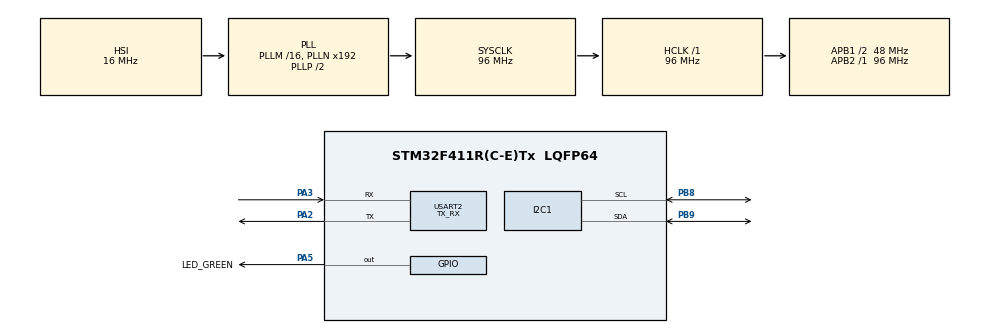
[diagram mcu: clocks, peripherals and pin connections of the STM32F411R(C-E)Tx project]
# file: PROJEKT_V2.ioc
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Dma.Request0=USART2_TX
Dma.Request1=USART2_RX
Dma.USART2_RX.1.Direction=DMA_PERIPH_TO_MEMORY
Dma.USART2_RX.1.FIFOMode=DMA_FIFOMODE_DISABLE
Dma.USART2_RX.1.Instance=DMA1_Stream5
Dma.USART2_RX.1.MemDataAlignment=DMA_MDATAALIGN_BYTE
Dma.USART2_RX.1.MemInc=DMA_MINC_ENABLE
Dma.USART2_RX.1.Mode=DMA_CIRCULAR
Dma.USART2_RX.1.PeriphDataAlignment=DMA_PDATAALIGN_BYTE
Dma.USART2_RX.1.PeriphInc=DMA_PINC_DISABLE
Dma.USART2_RX.1.Priority=DMA_PRIORITY_LOW
Dma.USART2_TX.0.Direction=DMA_MEMORY_TO_PERIPH
Dma.USART2_TX.0.FIFOMode=DMA_FIFOMODE_DISABLE
Dma.USART2_TX.0.Instance=DMA1_Stream6
Dma.USART2_TX.0.MemDataAlignment=DMA_MDATAALIGN_BYTE
Dma.USART2_TX.0.MemInc=DMA_MINC_ENABLE
Dma.USART2_TX.0.Mode=DMA_CIRCULAR
Dma.USART2_TX.0.PeriphDataAlignment=DMA_PDATAALIGN_BYTE
Dma.USART2_TX.0.PeriphInc=DMA_PINC_DISABLE
Dma.USART2_TX.0.Priority=DMA_PRIORITY_LOW
Mcu.Family=STM32F4
Mcu.Name=STM32F411R(C-E)Tx
Mcu.Package=LQFP64
NVIC.DMA1_Stream5_IRQn=true\:0\:0\:false\:false\:true\:false\:true\:true
NVIC.DMA1_Stream6_IRQn=true\:0\:0\:false\:false\:true\:false\:true\:true
NVIC.I2C1_EV_IRQn=true\:0\:0\:false\:false\:true\:true\:true\:true
NVIC.PriorityGroup=NVIC_PRIORITYGROUP_4
PA2.Mode=Asynchronous
PA2.Signal=USART2_TX
PA3.Mode=Asynchronous
PA3.Signal=USART2_RX
PA5.GPIO_Label=LED_GREEN
PA5.Signal=GPIO_Output
PB8.Mode=I2C
PB8.Signal=I2C1_SCL
PB9.Mode=I2C
PB9.Signal=I2C1_SDA
PC14-OSC32_IN.Mode=LSE-External-Oscillator
PC14-OSC32_IN.Signal=RCC_OSC32_IN
PC15-OSC32_OUT.Mode=LSE-External-Oscillator
PC15-OSC32_OUT.Signal=RCC_OSC32_OUT
PH0\ -\ OSC_IN.Mode=HSE-External-Clock-Source
PH0\ -\ OSC_IN.Signal=RCC_OSC_IN
PH1\ -\ OSC_OUT.Mode=HSE-External-Clock-Source
PH1\ -\ OSC_OUT.Signal=RCC_OSC_OUT
ProjectManager.HeapSize=0x200
ProjectManager.StackSize=0x400
ProjectManager.TargetToolchain=STM32CubeIDE
RCC.AHBFreq_Value=96000000
RCC.APB1CLKDivider=RCC_HCLK_DIV2
RCC.APB1Freq_Value=48000000
RCC.APB1TimFreq_Value=96000000
RCC.APB2Freq_Value=96000000
RCC.APB2TimFreq_Value=96000000
RCC.CortexFreq_Value=96000000
RCC.HCLKFreq_Value=96000000
RCC.HSE_VALUE=25000000
RCC.HSI_VALUE=16000000
RCC.SYSCLKFreq_VALUE=96000000
RCC.SYSCLKSource=RCC_SYSCLKSOURCE_PLLCLK
RCC.VCOOutputFreq_Value=192000000
USART2.Mode=MODE_TX_RX
USART2.VirtualMode=VM_ASYNC
VP_RTC_VS_RTC_Activate.Mode=RTC_Enabled
board=custom

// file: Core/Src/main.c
/* USER CODE BEGIN Header */
/**
  ******************************************************************************
  * @file           : main.c
  * @brief          : Main program body
  ******************************************************************************
  * @attention
  *
  * Copyright (c) 2022 STMicroelectronics.
  * All rights reserved.
  *
  * This software is licensed under terms that can be found in the LICENSE file
  * in the root directory of this software component.
  * If no LICENSE file comes with this software, it is provided AS-IS.
  *
  ******************************************************************************
  */
/* USER CODE END Header */
#include "main.h"

/* USER CODE BEGIN Includes */
#include "myheader.h"

/* USER CODE END Includes */

I2C_HandleTypeDef hi2c1;

RTC_HandleTypeDef hrtc;

UART_HandleTypeDef huart2;
DMA_HandleTypeDef hdma_usart2_tx;
DMA_HandleTypeDef hdma_usart2_rx;

/* USER CODE BEGIN PV */
//HTS221

uint8_t HTTS221_CTR_REG_1_settings = (0b10000110);
uint8_t HTS221_WHOAMI_buf = 0;
uint8_t HTTS221_CTR_CALIBRATION_REG[6];
uint8_t HTS221_Data_buff[4];

//data to interpolation TEMP
uint8_t HTTS221_T0_degC = 0;
uint8_t HTTS221_T1_degC = 0;
uint8_t HTTS221_T_MSB = 0;
int16_t HTTS221_T0_OUT = 0;
int16_t HTTS221_T1_OUT = 0;
int16_t HTTS221_T_OUT = 0;

//data to interpolation HUMI
uint8_t HTTS221_H0_rH_x2 = 0;
uint8_t HTTS221_H1_rH_x2 = 0;
int16_t HTTS221_H0_T0_OUT = 0;
int16_t HTTS221_H1_T0_OUT = 0;

//LSM6DSL
uint8_t LSM6DSL_CTRL1_XL=(0b01001110);
uint8_t LSM6DSL_GYRRO_CTRL2_G_sett=(0b01001000);
uint8_t LSM6DSL_WHOAMI_buf = 0;

//LSM303AGR

uint8_t LSM303AGR_ACCE_WHOAMI_buff = 0;
uint8_t LSM303AGR_GYRO_WHOAMI_buff = 0;

uint8_t LSM303AGR_CTRL_REG1_A_settings = 0x57;
uint8_t LSM303AGR_CTRL_REG2_A_settings = 0x00;
uint8_t LSM303AGR_CTRL_REG3_A_settings = 0x00;
uint8_t LSM303AGR_CTRL_REG4_A_settings = 0b10100000;
uint8_t LSM303AGR_TEMP_CFG_REG_A_settings = 0xC0;

uint8_t LSM303AGR_DATA_ACCE_buff[6];

//LPS22HB

uint8_t LPS22HB_WHOAMI_buf = 0;
uint8_t LPS22HB_CTRL_REG1_A_settings = 0b00111000;

uint8_t UART_BUFFOR[100];
uint8_t UART_RECEIVE_BUFFOR = 0;

/* USER CODE END PV */

void SystemClock_Config(void);
static void MX_GPIO_Init(void);
static void MX_DMA_Init(void);
static void MX_I2C1_Init(void);
static void MX_RTC_Init(void);
static void MX_USART2_UART_Init(void);

int main(void)
{

  /* MCU Configuration--------------------------------------------------------*/

  /* Reset of all peripherals, Initializes the Flash interface and the Systick. */
  HAL_Init();

  /* Configure the system clock */
  SystemClock_Config();

  /* Initialize all configured peripherals */
  MX_GPIO_Init();
  MX_DMA_Init();
  MX_I2C1_Init();
  MX_RTC_Init();
  MX_USART2_UART_Init();

  /* Infinite loop */
  /* USER CODE BEGIN WHILE */

  //Read WHOAMI for HTS221 - temperature, humidity
      HAL_I2C_Mem_Read(&hi2c1, HTS221_ADR, HTS221_ADR_WHO_AM_I,1, &HTS221_WHOAMI_buf, 1, 5);
    //Read WHOAMI for LSM6DSL -  accelerometer,  gyroscope
      HAL_I2C_Mem_Read(&hi2c1, LSM6DSL_ADR, LSM6DSL_ADR_WHOAMI, 1, &LSM6DSL_WHOAMI_buf, 1, 5);
  	  //Read WHOAMI for LSM303AGR - accelerometer
  		HAL_I2C_Mem_Read(&hi2c1, LSM303AGR_ADR_ACCE, LSM303AGR_ADR_WHOAMI_ACCE, 1, &LSM303AGR_ACCE_WHOAMI_buff, 1, 5);
  	  //Read WHOAMI for LSM303AGR - gyroscope
  		HAL_I2C_Mem_Read(&hi2c1, LSM303AGR_ADR_GYRO, LSM303AGR_ADR_WHOAMI_GYRO, 1, &LSM303AGR_GYRO_WHOAMI_buff, 1, 5);
    //Read WHOAMI for LPS22HB MEMS pressure sensor, 260-1260 hPa absolute digital output barometer
      HAL_I2C_Mem_Read(&hi2c1, LPS22HB_ADR, LPS22HB_ADR_WHOAMI, 1, &LPS22HB_WHOAMI_buf, 1, 50);

    //LSM6DSL SET REGISTER
      HAL_I2C_Mem_Write(&hi2c1, LSM6DSL_ADR, LSM6DSL_ADR_CTRL1_XL, 1, &LSM6DSL_CTRL1_XL, 1, 5);
      HAL_I2C_Mem_Write(&hi2c1, LSM6DSL_ADR, LSM6DSL_GYRRO_CTRL2_G, 1, &LSM6DSL_GYRRO_CTRL2_G_sett, 1, 5);
    //LSM303AGR SET REGISTER
      HAL_I2C_Mem_Write(&hi2c1, LSM303AGR_ADR_ACCE, LSM303AGR_TEMP_CFG_REG_A, 1, &LSM303AGR_TEMP_CFG_REG_A_settings, 1, 5); //ON TEMPERATURE
      HAL_I2C_Mem_Write(&hi2c1, LSM303AGR_ADR_ACCE, LSM303AGR_CTRL_REG2_A, 1, &LSM303AGR_CTRL_REG2_A_settings, 1, 5);
      HAL_I2C_Mem_Write(&hi2c1, LSM303AGR_ADR_ACCE, LSM303AGR_CTRL_REG3_A, 1, &LSM303AGR_CTRL_REG3_A_settings, 1, 5);
      HAL_I2C_Mem_Write(&hi2c1, LSM303AGR_ADR_ACCE, LSM303AGR_CTRL_REG4_A, 1, &LSM303AGR_CTRL_REG4_A_settings, 1, 5);
      HAL_I2C_Mem_Write(&hi2c1, LSM303AGR_ADR_ACCE, LSM303AGR_CTRL_REG1_A, 1, &LSM303AGR_CTRL_REG1_A_settings, 1, 5);

      //LPS22HB SET REGISTER
      HAL_I2C_Mem_Write(&hi2c1, LPS22HB_ADR, LPS22HB_LPS22HB_CTRL_REG1, 1, &LPS22HB_CTRL_REG1_A_settings, 1, 5);

     //HTS221 SET REGISTER

      HAL_I2C_Mem_Write(&hi2c1, HTS221_ADR, HTS221_CTR_REG_1, 1,  &HTTS221_CTR_REG_1_settings, 1, 5);
     //HTS221 READ CONTROL DATA Interpolation TEMP
		  HAL_I2C_Mem_Read(&hi2c1, HTS221_ADR, HTS221_T0_degC_x8, 1, HTS221_Data_buff, 2, 5);
		  HTTS221_T0_degC = HTS221_Data_buff[0];
		  HTTS221_T1_degC = HTS221_Data_buff[1];
		  HAL_I2C_Mem_Read(&hi2c1, HTS221_ADR, HTS221_T1T0_MSB, 1, HTS221_Data_buff, 1, 5);
		  HTTS221_T_MSB = HTS221_Data_buff[0];
		  HAL_I2C_Mem_Read(&hi2c1, HTS221_ADR, HTS221_TEMP_T0_OUT, 1,  HTS221_Data_buff, 4, 5);
		  HTTS221_T0_OUT = (HTS221_Data_buff[1] << 8) + HTS221_Data_buff[0];
		  HTTS221_T1_OUT = (HTS221_Data_buff[3] << 8) + HTS221_Data_buff[2];
		  HTTS221_T0_degC = HTTS221_T0_degC / 8;
		  HTTS221_T1_degC = HTTS221_T1_degC / 8;

	 //HTS221 READ CONTROL DATA Interpolation HUMI
		  HAL_I2C_Mem_Read(&hi2c1, HTS221_ADR, HTS221_H0_rH_x2, 1, HTS221_Data_buff, 2, 5);
		  HTTS221_H0_rH_x2 =  HTS221_Data_buff[0] / 2;
		  HTTS221_H1_rH_x2 =  HTS221_Data_buff[1] / 2;

		  HAL_I2C_Mem_Read(&hi2c1, HTS221_ADR, HTS221_H0_T0_OUT, 1, HTS221_Data_buff, 2, 5);
		  HTTS221_H0_T0_OUT = (HTS221_Data_buff[1] << 8) + HTS221_Data_buff[0];
		  HAL_I2C_Mem_Read(&hi2c1, HTS221_ADR, HTS221_H1_T0_OUT, 1, HTS221_Data_buff, 2, 5);
		  HTTS221_H1_T0_OUT = (HTS221_Data_buff[1] << 8) + HTS221_Data_buff[0];

//      HTTS221_H0_rH_x2_sett = HTTS221_CTR_CALIBRATION_REG[0];
//      HTTS221_H1_rH_x2_sett = HTTS221_CTR_CALIBRATION_REG[1];
//      HTTS221_H0_T0_OUT_sett = (HTTS221_CTR_CALIBRATION_REG[3] << 8) + HTTS221_CTR_CALIBRATION_REG[2];
//      HTTS221_H1_T0_OUT_sett = (HTTS221_CTR_CALIBRATION_REG[5] << 8) + HTTS221_CTR_CALIBRATION_REG[4];

      //First Interrupt
      HAL_I2C_Mem_Read_IT(&hi2c1, LSM303AGR_ADR_ACCE, LSM303AGR_OUT_X_L_A, 1, LSM303AGR_DATA_ACCE_buff, 6);

      //START UART_DMA
      HAL_UART_Transmit_DMA(&huart2, (uint8_t*) UART_BUFFOR, 70);
      HAL_UART_Receive_DMA(&huart2, (uint8_t*) &UART_RECEIVE_BUFFOR, 1);
      //uart_send_string_DMA( (char*) UART_BUFFOR, 50); //test
      //uart_send_string_DMA((char*) "HELLO", 50);   //test

  while (1)
  {

    /* USER CODE END WHILE */

  }
}

void SystemClock_Config(void)
{
  RCC_OscInitTypeDef RCC_OscInitStruct = {0};
  RCC_ClkInitTypeDef RCC_ClkInitStruct = {0};

  /** Configure the main internal regulator output voltage
  */
  __HAL_RCC_PWR_CLK_ENABLE();
  __HAL_PWR_VOLTAGESCALING_CONFIG(PWR_REGULATOR_VOLTAGE_SCALE1);

  /** Initializes the RCC Oscillators according to the specified parameters
  * in the RCC_OscInitTypeDef structure.
  */
  RCC_OscInitStruct.OscillatorType = RCC_OSCILLATORTYPE_HSI|RCC_OSCILLATORTYPE_LSI;
  RCC_OscInitStruct.HSIState = RCC_HSI_ON;
  RCC_OscInitStruct.HSICalibrationValue = RCC_HSICALIBRATION_DEFAULT;
  RCC_OscInitStruct.LSIState = RCC_LSI_ON;
  RCC_OscInitStruct.PLL.PLLState = RCC_PLL_ON;
  RCC_OscInitStruct.PLL.PLLSource = RCC_PLLSOURCE_HSI;
  RCC_OscInitStruct.PLL.PLLM = 16;
  RCC_OscInitStruct.PLL.PLLN = 192;
  RCC_OscInitStruct.PLL.PLLP = RCC_PLLP_DIV2;
  RCC_OscInitStruct.PLL.PLLQ = 4;
  if (HAL_RCC_OscConfig(&RCC_OscInitStruct) != HAL_OK)
  {
    Error_Handler();
  }

  /** Initializes the CPU, AHB and APB buses clocks
  */
  RCC_ClkInitStruct.ClockType = RCC_CLOCKTYPE_HCLK|RCC_CLOCKTYPE_SYSCLK
                              |RCC_CLOCKTYPE_PCLK1|RCC_CLOCKTYPE_PCLK2;
  RCC_ClkInitStruct.SYSCLKSource = RCC_SYSCLKSOURCE_PLLCLK;
  RCC_ClkInitStruct.AHBCLKDivider = RCC_SYSCLK_DIV1;
  RCC_ClkInitStruct.APB1CLKDivider = RCC_HCLK_DIV2;
  RCC_ClkInitStruct.APB2CLKDivider = RCC_HCLK_DIV1;

  if (HAL_RCC_ClockConfig(&RCC_ClkInitStruct, FLASH_LATENCY_3) != HAL_OK)
  {
    Error_Handler();
  }
}

static void MX_I2C1_Init(void)
{

  hi2c1.Instance = I2C1;
  hi2c1.Init.ClockSpeed = 100000;
  hi2c1.Init.DutyCycle = I2C_DUTYCYCLE_2;
  hi2c1.Init.OwnAddress1 = 0;
  hi2c1.Init.AddressingMode = I2C_ADDRESSINGMODE_7BIT;
  hi2c1.Init.DualAddressMode = I2C_DUALADDRESS_DISABLE;
  hi2c1.Init.OwnAddress2 = 0;
  hi2c1.Init.GeneralCallMode = I2C_GENERALCALL_DISABLE;
  hi2c1.Init.NoStretchMode = I2C_NOSTRETCH_DISABLE;
  if (HAL_I2C_Init(&hi2c1) != HAL_OK)
  {
    Error_Handler();
  }

}

static void MX_RTC_Init(void)
{

  /** Initialize RTC Only
  */
  hrtc.Instance = RTC;
  hrtc.Init.HourFormat = RTC_HOURFORMAT_24;
  hrtc.Init.AsynchPrediv = 127;
  hrtc.Init.SynchPrediv = 255;
  hrtc.Init.OutPut = RTC_OUTPUT_DISABLE;
  hrtc.Init.OutPutPolarity = RTC_OUTPUT_POLARITY_HIGH;
  hrtc.Init.OutPutType = RTC_OUTPUT_TYPE_OPENDRAIN;
  if (HAL_RTC_Init(&hrtc) != HAL_OK)
  {
    Error_Handler();
  }

}

static void MX_USART2_UART_Init(void)
{

  huart2.Instance = USART2;
  huart2.Init.BaudRate = 115200;
  huart2.Init.WordLength = UART_WORDLENGTH_8B;
  huart2.Init.StopBits = UART_STOPBITS_1;
  huart2.Init.Parity = UART_PARITY_NONE;
  huart2.Init.Mode = UART_MODE_TX_RX;
  huart2.Init.HwFlowCtl = UART_HWCONTROL_NONE;
  huart2.Init.OverSampling = UART_OVERSAMPLING_16;
  if (HAL_UART_Init(&huart2) != HAL_OK)
  {
    Error_Handler();
  }

}

static void MX_DMA_Init(void)
{

  /* DMA controller clock enable */
  __HAL_RCC_DMA1_CLK_ENABLE();

  /* DMA interrupt init */
  /* DMA1_Stream5_IRQn interrupt configuration */
  HAL_NVIC_SetPriority(DMA1_Stream5_IRQn, 0, 0);
  HAL_NVIC_EnableIRQ(DMA1_Stream5_IRQn);
  /* DMA1_Stream6_IRQn interrupt configuration */
  HAL_NVIC_SetPriority(DMA1_Stream6_IRQn, 0, 0);
  HAL_NVIC_EnableIRQ(DMA1_Stream6_IRQn);

}

static void MX_GPIO_Init(void)
{
  GPIO_InitTypeDef GPIO_InitStruct = {0};

  /* GPIO Ports Clock Enable */
  __HAL_RCC_GPIOC_CLK_ENABLE();
  __HAL_RCC_GPIOH_CLK_ENABLE();
  __HAL_RCC_GPIOA_CLK_ENABLE();
  __HAL_RCC_GPIOB_CLK_ENABLE();

  /*Configure GPIO pin Output Level */
  HAL_GPIO_WritePin(LED_GREEN_GPIO_Port, LED_GREEN_Pin, GPIO_PIN_RESET);

  /*Configure GPIO pin : LED_GREEN_Pin */
  GPIO_InitStruct.Pin = LED_GREEN_Pin;
  GPIO_InitStruct.Mode = GPIO_MODE_OUTPUT_PP;
  GPIO_InitStruct.Pull = GPIO_NOPULL;
  GPIO_InitStruct.Speed = GPIO_SPEED_FREQ_LOW;
  HAL_GPIO_Init(LED_GREEN_GPIO_Port, &GPIO_InitStruct);

}

void Error_Handler(void)
{
  __disable_irq();
  while (1)
  {
  }
}
